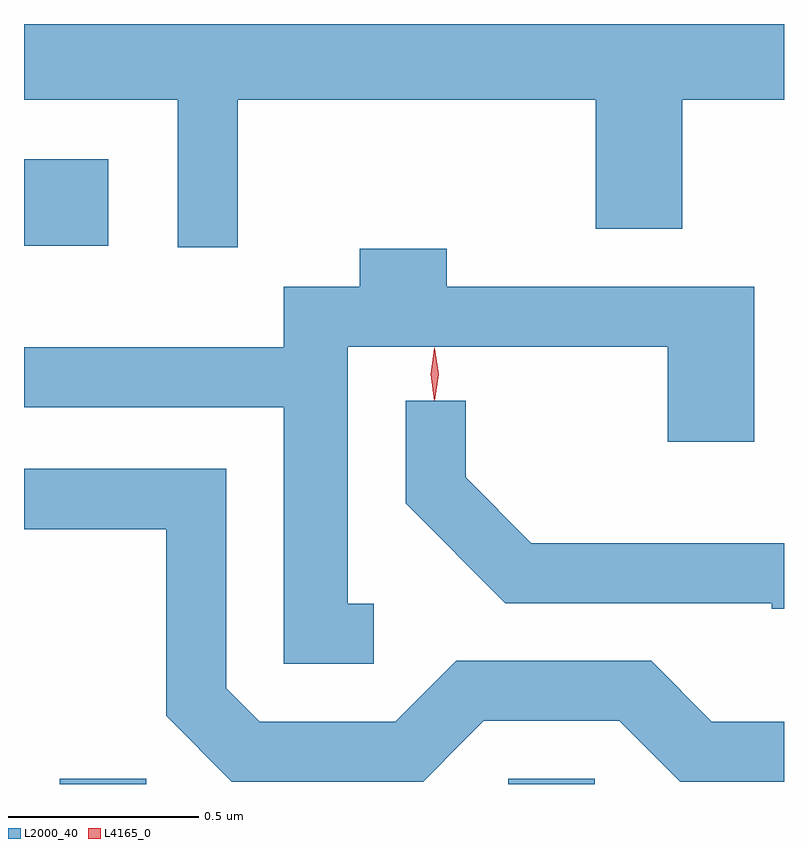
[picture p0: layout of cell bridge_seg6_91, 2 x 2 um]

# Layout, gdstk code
import gdstk
lib = gdstk.Library(unit=1e-6, precision=1e-09)
def R(c, l, rs):  # rectangles x0, y0, x1, y1
    for r in rs: c.add(gdstk.rectangle(r[:2], r[2:], *l))
def P(c, l, *ps):  # polygons
    for p in ps: c.add(gdstk.Polygon(p, *l))
L2000_40 = (2000, 40)
L4165_0 = (4165, 0)

bridge_seg6_91 = lib.new_cell('bridge_seg6_91')
R(bridge_seg6_91, L2000_40, [(1051.961,1665.895,1052.189,1665.909), (1053.141,1665.895,1053.369,1665.909), (1051.867,1667.311,1052.089,1667.539)])
P(bridge_seg6_91, L2000_40, [(1052.429,1667.696),(1053.371,1667.696),(1053.371,1667.356),(1053.599,1667.356),(1053.599,1667.696),(1053.867,1667.696),(1053.867,1667.895),(1051.867,1667.895),(1051.867,1667.696),(1052.271,1667.696),(1052.271,1667.308),(1052.429,1667.308)],
  [(1052.788,1666.369),(1052.719,1666.369),(1052.719,1667.046),(1053.561,1667.046),(1053.561,1666.796),(1053.789,1666.796),(1053.789,1667.204),(1052.979,1667.204),(1052.979,1667.304),(1052.751,1667.304),(1052.751,1667.204),(1052.551,1667.204),(1052.551,1667.044),(1051.867,1667.044),(1051.867,1666.886),(1052.551,1666.886),(1052.551,1666.211),(1052.788,1666.211)],
  [(1053.867,1666.529),(1053.202,1666.529),(1053.029,1666.702),(1053.029,1666.903),(1052.871,1666.903),(1052.871,1666.634),(1053.134,1666.371),(1053.835,1666.371),(1053.835,1666.356),(1053.867,1666.356)],
  [(1053.028,1666.013),(1053.077,1666.061),(1053.434,1666.061),(1053.594,1665.901),(1053.867,1665.901),(1053.867,1666.059),(1053.677,1666.059),(1053.517,1666.219),(1053.004,1666.219),(1052.844,1666.059),(1052.487,1666.059),(1052.399,1666.147),(1052.399,1666.724),(1051.867,1666.724),(1051.867,1666.566),(1052.241,1666.566),(1052.241,1666.074),(1052.414,1665.901),(1052.917,1665.901)])
P(bridge_seg6_91, L4165_0, [(1052.948,1666.903),(1052.947,1666.904),(1052.938,1666.973),(1052.947,1667.042),(1052.948,1667.043),(1052.948,1667.042),(1052.958,1666.973),(1052.948,1666.904)])

lib.write_gds('bridge_seg6_91.gds')
